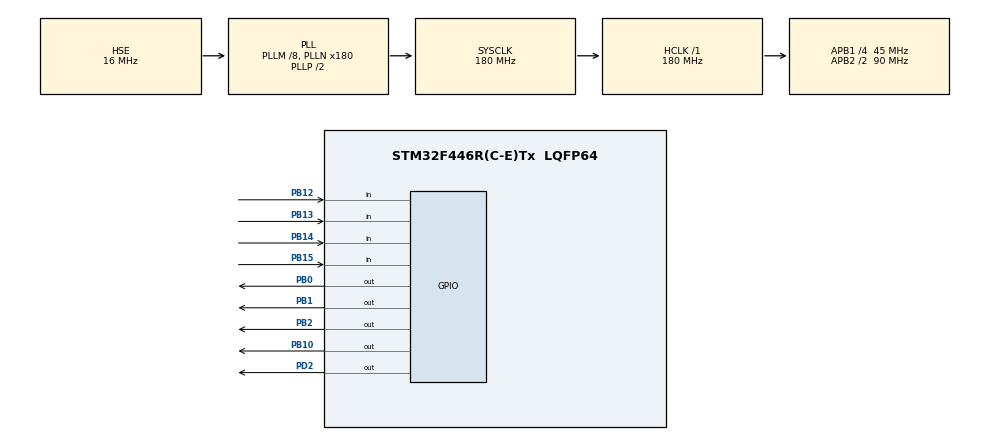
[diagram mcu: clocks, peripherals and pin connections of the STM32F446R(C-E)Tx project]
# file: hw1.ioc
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Mcu.Family=STM32F4
Mcu.Name=STM32F446R(C-E)Tx
Mcu.Package=LQFP64
NVIC.PriorityGroup=NVIC_PRIORITYGROUP_4
NVIC.TIM6_DAC_IRQn=true\:0\:0\:false\:false\:true\:true\:true\:true
PA13.Mode=Serial_Wire
PA13.Signal=SYS_JTMS-SWDIO
PA14.Mode=Serial_Wire
PA14.Signal=SYS_JTCK-SWCLK
PB0.Signal=GPIO_Output
PB1.Signal=GPIO_Output
PB10.Signal=GPIO_Output
PB12.Signal=GPIO_Input
PB13.Signal=GPIO_Input
PB14.Signal=GPIO_Input
PB15.Signal=GPIO_Input
PB2.Signal=GPIO_Output
PD2.Signal=GPIO_Output
PH0-OSC_IN.Mode=HSE-External-Oscillator
PH0-OSC_IN.Signal=RCC_OSC_IN
PH1-OSC_OUT.Mode=HSE-External-Oscillator
PH1-OSC_OUT.Signal=RCC_OSC_OUT
ProjectManager.HeapSize=0x200
ProjectManager.StackSize=0x400
ProjectManager.TargetToolchain=STM32CubeIDE
RCC.AHBFreq_Value=180000000
RCC.APB1CLKDivider=RCC_HCLK_DIV4
RCC.APB1Freq_Value=45000000
RCC.APB1TimFreq_Value=90000000
RCC.APB2CLKDivider=RCC_HCLK_DIV2
RCC.APB2Freq_Value=90000000
RCC.APB2TimFreq_Value=180000000
RCC.CortexFreq_Value=180000000
RCC.HCLKFreq_Value=180000000
RCC.HSE_VALUE=16000000
RCC.PLLM=8
RCC.PLLN=180
RCC.PLLSourceVirtual=RCC_PLLSOURCE_HSE
RCC.SYSCLKFreq_VALUE=180000000
RCC.SYSCLKSource=RCC_SYSCLKSOURCE_PLLCLK
RCC.USBFreq_Value=180000000
RCC.VCOOutputFreq_Value=360000000
TIM6.Period=100-1
TIM6.Prescaler=90-1
VP_TIM6_VS_ClockSourceINT.Mode=Enable_Timer
board=custom

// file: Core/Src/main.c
/* USER CODE BEGIN Header */
/**
  ******************************************************************************
  * @file           : main.c
  * @brief          : Main program body
  ******************************************************************************
  * @attention
  *
  * Copyright (c) 2026 STMicroelectronics.
  * All rights reserved.
  *
  * This software is licensed under terms that can be found in the LICENSE file
  * in the root directory of this software component.
  * If no LICENSE file comes with this software, it is provided AS-IS.
  *
  ******************************************************************************
  */
/* USER CODE END Header */
#include "main.h"
#include "tim.h"
#include "gpio.h"

/* USER CODE BEGIN PV */
uint32_t counter = 0;
/* USER CODE END PV */

/* USER CODE END PV */

void SystemClock_Config(void);

int main(void)
{

  /* MCU Configuration--------------------------------------------------------*/

  /* Reset of all peripherals, Initializes the Flash interface and the Systick. */
  HAL_Init();

  /* Configure the system clock */
  SystemClock_Config();

  /* Initialize all configured peripherals */
  MX_GPIO_Init();
  MX_TIM6_Init();
  /* USER CODE BEGIN 2 */
  HAL_TIM_Base_Start_IT(&htim6);
  /* USER CODE END 2 */

  /* Infinite loop */
  while (1)
  {

  }
}

void SystemClock_Config(void)
{
  RCC_OscInitTypeDef RCC_OscInitStruct = {0};
  RCC_ClkInitTypeDef RCC_ClkInitStruct = {0};

  /** Configure the main internal regulator output voltage
  */
  __HAL_RCC_PWR_CLK_ENABLE();
  __HAL_PWR_VOLTAGESCALING_CONFIG(PWR_REGULATOR_VOLTAGE_SCALE1);

  /** Initializes the RCC Oscillators according to the specified parameters
  * in the RCC_OscInitTypeDef structure.
  */
  RCC_OscInitStruct.OscillatorType = RCC_OSCILLATORTYPE_HSE;
  RCC_OscInitStruct.HSEState = RCC_HSE_ON;
  RCC_OscInitStruct.PLL.PLLState = RCC_PLL_ON;
  RCC_OscInitStruct.PLL.PLLSource = RCC_PLLSOURCE_HSE;
  RCC_OscInitStruct.PLL.PLLM = 8;
  RCC_OscInitStruct.PLL.PLLN = 180;
  RCC_OscInitStruct.PLL.PLLP = RCC_PLLP_DIV2;
  RCC_OscInitStruct.PLL.PLLQ = 2;
  RCC_OscInitStruct.PLL.PLLR = 2;
  if (HAL_RCC_OscConfig(&RCC_OscInitStruct) != HAL_OK)
  {
    Error_Handler();
  }

  /** Activate the Over-Drive mode
  */
  if (HAL_PWREx_EnableOverDrive() != HAL_OK)
  {
    Error_Handler();
  }

  /** Initializes the CPU, AHB and APB buses clocks
  */
  RCC_ClkInitStruct.ClockType = RCC_CLOCKTYPE_HCLK|RCC_CLOCKTYPE_SYSCLK
                              |RCC_CLOCKTYPE_PCLK1|RCC_CLOCKTYPE_PCLK2;
  RCC_ClkInitStruct.SYSCLKSource = RCC_SYSCLKSOURCE_PLLCLK;
  RCC_ClkInitStruct.AHBCLKDivider = RCC_SYSCLK_DIV1;
  RCC_ClkInitStruct.APB1CLKDivider = RCC_HCLK_DIV4;
  RCC_ClkInitStruct.APB2CLKDivider = RCC_HCLK_DIV2;

  if (HAL_RCC_ClockConfig(&RCC_ClkInitStruct, FLASH_LATENCY_5) != HAL_OK)
  {
    Error_Handler();
  }
}

/* USER CODE BEGIN 4 */
void HAL_TIM_PeriodElapsedCallback(TIM_HandleTypeDef *htim)
{
  if (htim->Instance == TIM6)
  {
    counter++;

    if (counter % 5000 == 0)
    {
      HAL_GPIO_TogglePin(GPIOD, GPIO_PIN_2);
    }

    if (counter % 2500 == 0)
    {
      if (HAL_GPIO_ReadPin(GPIOB, GPIO_PIN_12) == 0)
      {
        HAL_GPIO_TogglePin(GPIOB, GPIO_PIN_0);
      }
      if (HAL_GPIO_ReadPin(GPIOB, GPIO_PIN_13) == 0)
      {
        HAL_GPIO_TogglePin(GPIOB, GPIO_PIN_1);
      }
      if (HAL_GPIO_ReadPin(GPIOB, GPIO_PIN_14) == 0)
      {
        HAL_GPIO_TogglePin(GPIOB, GPIO_PIN_2);
      }
      if (HAL_GPIO_ReadPin(GPIOB, GPIO_PIN_15) == 0)
      {
        HAL_GPIO_TogglePin(GPIOB, GPIO_PIN_10);
      }
    }

    counter = counter % 5000;
  }
}
/* USER CODE END 4 */

void Error_Handler(void)
{
  __disable_irq();
  while (1)
  {
  }
}
